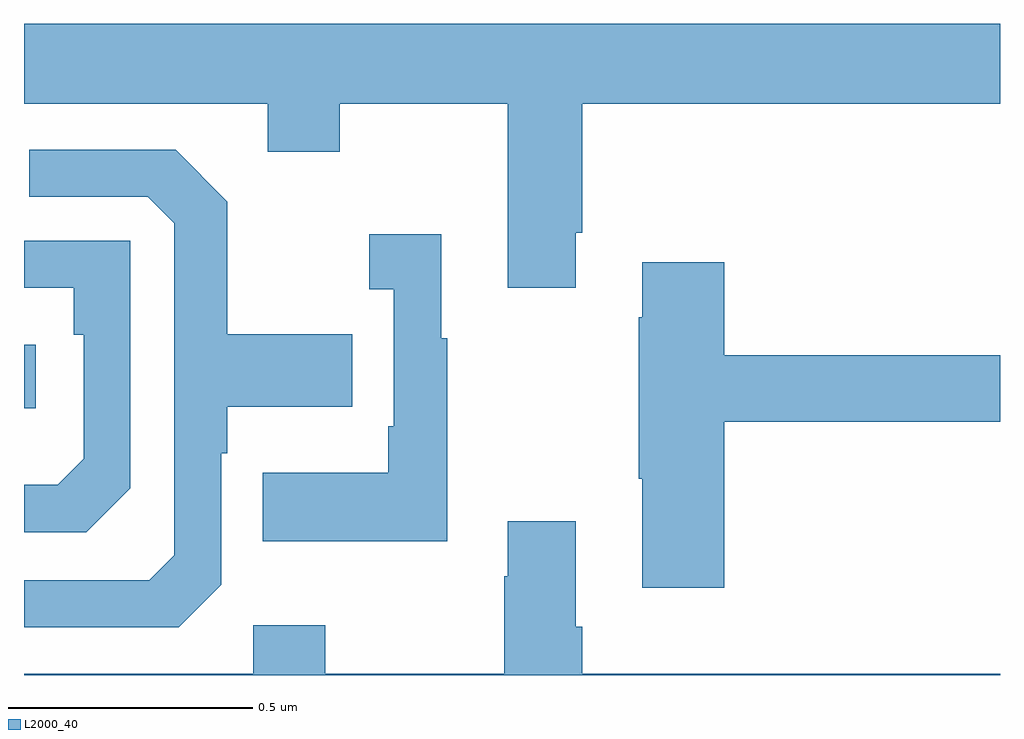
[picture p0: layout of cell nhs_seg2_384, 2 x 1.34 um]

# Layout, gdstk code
import gdstk
lib = gdstk.Library(unit=1e-6, precision=1e-09)
def R(c, l, rs):  # rectangles x0, y0, x1, y1
    for r in rs: c.add(gdstk.rectangle(r[:2], r[2:], *l))
def P(c, l, *ps):  # polygons
    for p in ps: c.add(gdstk.Polygon(p, *l))
L2000_40 = (2000, 40)

nhs_seg2_384 = lib.new_cell('nhs_seg2_384')
R(nhs_seg2_384, L2000_40, [(115,644.348,115.024,644.478)])
P(nhs_seg2_384, L2000_40, [(116.131,644.707),(116.144,644.707),(116.144,644.972),(117,644.972),(117,645.136),(115,645.136),(115,644.972),(115.499,644.972),(115.499,644.873),(115.647,644.873),(115.647,644.972),(115.991,644.972),(115.991,644.595),(116.131,644.595)],
  [(115.404,643.986),(115.404,644.255),(115.417,644.255),(115.417,644.351),(115.673,644.351),(115.673,644.499),(115.417,644.499),(115.417,644.771),(115.311,644.877),(115.011,644.877),(115.011,644.781),(115.254,644.781),(115.308,644.727),(115.308,644.046),(115.257,643.995),(115,643.995),(115,643.899),(115.317,643.899)],
  [(115.867,644.491),(115.855,644.491),(115.855,644.704),(115.707,644.704),(115.707,644.591),(115.758,644.591),(115.758,644.311),(115.746,644.311),(115.746,644.215),(115.489,644.215),(115.489,644.075),(115.867,644.075)],
  [(115.218,644.184),(115.218,644.691),(115,644.691),(115,644.595),(115.102,644.595),(115.102,644.498),(115.122,644.498),(115.122,644.244),(115.069,644.191),(115,644.191),(115,644.094),(115.128,644.094)],
  [(116.435,644.32),(117,644.32),(117,644.456),(116.435,644.456),(116.435,644.647),(116.267,644.647),(116.267,644.534),(116.26,644.534),(116.26,644.203),(116.267,644.203),(116.267,643.98),(116.435,643.98)],
  [(117,643.804),(116.144,643.804),(116.144,643.9),(116.131,643.9),(116.131,644.116),(115.991,644.116),(115.991,644.003),(115.984,644.003),(115.984,643.804),(115.617,643.804),(115.617,643.903),(115.47,643.903),(115.47,643.804),(115,643.804),(115,643.8),(117,643.8)])

lib.write_gds('nhs_seg2_384.gds')
